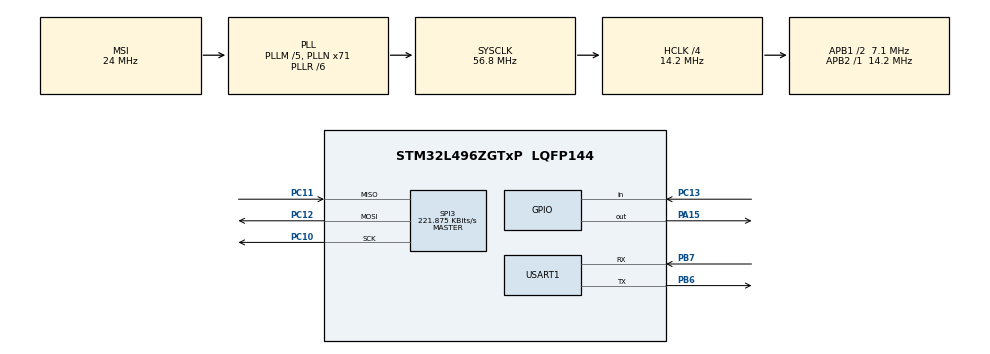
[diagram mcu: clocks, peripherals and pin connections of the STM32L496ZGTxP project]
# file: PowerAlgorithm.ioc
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Dma.Request0=USART1_RX
Dma.USART1_RX.0.Direction=DMA_PERIPH_TO_MEMORY
Dma.USART1_RX.0.Instance=DMA1_Channel5
Dma.USART1_RX.0.MemDataAlignment=DMA_MDATAALIGN_BYTE
Dma.USART1_RX.0.MemInc=DMA_MINC_ENABLE
Dma.USART1_RX.0.Mode=DMA_NORMAL
Dma.USART1_RX.0.PeriphDataAlignment=DMA_PDATAALIGN_BYTE
Dma.USART1_RX.0.PeriphInc=DMA_PINC_DISABLE
Dma.USART1_RX.0.Priority=DMA_PRIORITY_LOW
Mcu.Family=STM32L4
Mcu.Name=STM32L496ZGTxP
Mcu.Package=LQFP144
NVIC.DMA1_Channel5_IRQn=true\:0\:0\:false\:false\:true\:false\:true\:true
NVIC.PriorityGroup=NVIC_PRIORITYGROUP_4
NVIC.USART1_IRQn=true\:0\:0\:false\:false\:true\:true\:true\:true
PA15\ (JTDI).Signal=GPIO_Output
PB6.Mode=Asynchronous
PB6.Signal=USART1_TX
PB7.Mode=Asynchronous
PB7.Signal=USART1_RX
PC10.Mode=Full_Duplex_Master
PC10.Signal=SPI3_SCK
PC11.Mode=Full_Duplex_Master
PC11.Signal=SPI3_MISO
PC12.Mode=Full_Duplex_Master
PC12.Signal=SPI3_MOSI
PC13.Signal=GPIO_Input
PC14-OSC32_IN\ (PC14).Mode=LSE-External-Oscillator
PC14-OSC32_IN\ (PC14).Signal=RCC_OSC32_IN
PC15-OSC32_OUT\ (PC15).Mode=LSE-External-Oscillator
PC15-OSC32_OUT\ (PC15).Signal=RCC_OSC32_OUT
PH0-OSC_IN\ (PH0).Mode=HSE-External-Oscillator
PH0-OSC_IN\ (PH0).Signal=RCC_OSC_IN
PH1-OSC_OUT\ (PH1).Mode=HSE-External-Oscillator
PH1-OSC_OUT\ (PH1).Signal=RCC_OSC_OUT
ProjectManager.HeapSize=0x200
ProjectManager.StackSize=0x400
ProjectManager.TargetToolchain=STM32CubeIDE
RCC.48MHZClocksFreq_Value=24000000
RCC.ADCFreq_Value=48000000
RCC.AHBCLKDivider=RCC_SYSCLK_DIV4
RCC.AHBFreq_Value=14200000
RCC.APB1CLKDivider=RCC_HCLK_DIV2
RCC.APB1Freq_Value=7100000
RCC.APB1TimFreq_Value=14200000
RCC.APB2Freq_Value=14200000
RCC.APB2TimFreq_Value=14200000
RCC.CortexFreq_Value=14200000
RCC.HCLKFreq_Value=14200000
RCC.HSE_VALUE=8000000
RCC.HSI48_VALUE=48000000
RCC.HSI_VALUE=16000000
RCC.MSIClockRange=RCC_MSIRANGE_9
RCC.MSI_VALUE=24000000
RCC.PLLM=5
RCC.PLLMUL=RCC_PLL_MUL9
RCC.PLLN=71
RCC.PLLR=RCC_PLLR_DIV6
RCC.PLLSAI1N=20
RCC.PRESCALERUSB=RCC_USBCLKSOURCE_PLL_DIV1_5
RCC.SYSCLKFreq_VALUE=56800000
RCC.SYSCLKSource=RCC_SYSCLKSOURCE_PLLCLK
RCC.SYSCLKSourceVirtual=RCC_SYSCLKSOURCE_PLLCLK
RCC.USBFreq_Value=48000000
RCC.VCOOutputFreq_Value=340800000
SPI3.BaudRatePrescaler=SPI_BAUDRATEPRESCALER_32
SPI3.CalculateBaudRate=221.875 KBits/s
SPI3.Direction=SPI_DIRECTION_2LINES
SPI3.Mode=SPI_MODE_MASTER
SPI3.VirtualType=VM_MASTER
USART1.VirtualMode-Asynchronous=VM_ASYNC
board=NUCLEO-L496ZG-P

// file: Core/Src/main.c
/* USER CODE BEGIN Header */
/**
  ******************************************************************************
  * @file           : main.c
  * @brief          : Main program body
  * @author			: Ronak Sharma
  ******************************************************************************
  * @attention
  *
  * Copyright (c) 2023 STMicroelectronics.
  * All rights reserved.
  *
  * This software is licensed under terms that can be found in the LICENSE file
  * in the root directory of this software component.
  * If no LICENSE file comes with this software, it is provided AS-IS.
  *
  ******************************************************************************
  */
/* USER CODE END Header */
#include "main.h"

/* USER CODE BEGIN Includes */
#include<stdio.h>
#include<string.h>
#include<stdlib.h>

/* USER CODE END Includes */

SPI_HandleTypeDef hspi3;

UART_HandleTypeDef huart1;
DMA_HandleTypeDef hdma_usart1_rx;

/* USER CODE BEGIN PV */
uint8_t usart_rx_buf[20];
uint8_t Buf[200];
uint8_t choice;
uint8_t i;
uint8_t spi_Rx_data[2];

uint8_t adr;
/* USER CODE END PV */

void SystemClock_Config(void);
static void MX_GPIO_Init(void);
static void MX_DMA_Init(void);
static void MX_USART1_UART_Init(void);
static void MX_SPI3_Init(void);
/* USER CODE BEGIN PFP */
void read_LMX(void);
void write_LMX(void);
/* USER CODE END PFP */

int main(void)
{

  /* MCU Configuration--------------------------------------------------------*/

  /* Reset of all peripherals, Initializes the Flash interface and the Systick. */
  HAL_Init();

  /* Configure the system clock */
  SystemClock_Config();

  /* Initialize all configured peripherals */
  MX_GPIO_Init();
  MX_DMA_Init();
  MX_USART1_UART_Init();
  MX_SPI3_Init();
  /* USER CODE BEGIN 2 */
  strcpy((char*)Buf,"Application is Running \n\r");
  HAL_UART_Transmit(&huart1, Buf, strlen((char*)Buf),1000);
  /* USER CODE END 2 */

  /* Infinite loop */
  while (1)
  {

    /* USER CODE BEGIN 3 */
	  	  choice=0x00;
	  	*usart_rx_buf=0;
	  	  while( ! HAL_GPIO_ReadPin(GPIOC, GPIO_PIN_13));
	 	  HAL_Delay(200);
	 	  strcpy((char*)Buf,"\nWelcome to LMX Application\n\r\nPress 1 to Read the LMX Register \n\rPress 2 to Write the LMX Register \n\r");
	 	  HAL_UART_Transmit(&huart1, Buf, strlen((char*)Buf),1000);
	 	  //HAL_UART_Receive_DMA(&huart1, usart_rx_buf, 1);
	 	  HAL_UART_Receive(&huart1, &i, 1, HAL_MAX_DELAY);
	 	 HAL_Delay(100);

	 	  choice = atoi((const char*)&i) ;

	 	  if(choice == 1){
	 		  strcpy((char*)Buf,"\nyou request for Read operation \n\r");
	 		  HAL_UART_Transmit(&huart1, Buf, strlen((char*)Buf),1000);
	 		  read_LMX();

	 	  }else if(choice == 2){
	 		  strcpy((char*)Buf,"\nyou request for Write operation \n\r");
	 		  HAL_UART_Transmit(&huart1, Buf, strlen((char*)Buf),1000);
	 		  write_LMX();

	 	  }else{
	 		  strcpy((char*)Buf,"\nyou did wrong choice, Hit the Reset Button \n\r");
	 		  HAL_UART_Transmit(&huart1, Buf, strlen((char*)Buf),1000);
	 	  }
  }
  /* USER CODE END 3 */
}

/*
 * @brief LMX Read operation
 * @retval None
 */
void read_LMX(void){

	adr=0x00;
	strcpy((char*)Buf,"\nEnter the number of the register (0-122) : ");
	HAL_UART_Transmit(&huart1, Buf, strlen((char*)Buf),1000);

	HAL_UART_Receive(&huart1, usart_rx_buf, 3, 3000);
	adr = (atoi((const char*)usart_rx_buf) & 0xFF);

	sprintf((char*)Buf,"\nAddress is : 0x%X",adr);
	HAL_UART_Transmit(&huart1, Buf, strlen((char*)Buf),1000);

	HAL_GPIO_WritePin(GPIOF, GPIO_PIN_12, GPIO_PIN_RESET); //CS pin low
	HAL_SPI_Transmit(&hspi3, &adr, 1, 100); // SPI Transimt
	HAL_SPI_Receive(&hspi3, spi_Rx_data, 2, 100);
	HAL_GPIO_WritePin(GPIOF, GPIO_PIN_12, GPIO_PIN_SET); //CS high
    sprintf((char*)Buf,"Receive data is : 0x%X 0x%X",spi_Rx_data[0],spi_Rx_data[1]);
	HAL_UART_Transmit(&huart1, Buf, strlen((char*)Buf), 100);

}

/*
 * @brief LMX Write operation
 * @retval None
 */
void write_LMX(void){

}

void SystemClock_Config(void)
{
  RCC_OscInitTypeDef RCC_OscInitStruct = {0};
  RCC_ClkInitTypeDef RCC_ClkInitStruct = {0};

  /** Configure the main internal regulator output voltage
  */
  if (HAL_PWREx_ControlVoltageScaling(PWR_REGULATOR_VOLTAGE_SCALE1) != HAL_OK)
  {
    Error_Handler();
  }

  /** Initializes the RCC Oscillators according to the specified parameters
  * in the RCC_OscInitTypeDef structure.
  */
  RCC_OscInitStruct.OscillatorType = RCC_OSCILLATORTYPE_MSI;
  RCC_OscInitStruct.MSIState = RCC_MSI_ON;
  RCC_OscInitStruct.MSICalibrationValue = 0;
  RCC_OscInitStruct.MSIClockRange = RCC_MSIRANGE_9;
  RCC_OscInitStruct.PLL.PLLState = RCC_PLL_ON;
  RCC_OscInitStruct.PLL.PLLSource = RCC_PLLSOURCE_MSI;
  RCC_OscInitStruct.PLL.PLLM = 5;
  RCC_OscInitStruct.PLL.PLLN = 71;
  RCC_OscInitStruct.PLL.PLLP = RCC_PLLP_DIV2;
  RCC_OscInitStruct.PLL.PLLQ = RCC_PLLQ_DIV2;
  RCC_OscInitStruct.PLL.PLLR = RCC_PLLR_DIV6;
  if (HAL_RCC_OscConfig(&RCC_OscInitStruct) != HAL_OK)
  {
    Error_Handler();
  }

  /** Initializes the CPU, AHB and APB buses clocks
  */
  RCC_ClkInitStruct.ClockType = RCC_CLOCKTYPE_HCLK|RCC_CLOCKTYPE_SYSCLK
                              |RCC_CLOCKTYPE_PCLK1|RCC_CLOCKTYPE_PCLK2;
  RCC_ClkInitStruct.SYSCLKSource = RCC_SYSCLKSOURCE_PLLCLK;
  RCC_ClkInitStruct.AHBCLKDivider = RCC_SYSCLK_DIV4;
  RCC_ClkInitStruct.APB1CLKDivider = RCC_HCLK_DIV2;
  RCC_ClkInitStruct.APB2CLKDivider = RCC_HCLK_DIV1;

  if (HAL_RCC_ClockConfig(&RCC_ClkInitStruct, FLASH_LATENCY_0) != HAL_OK)
  {
    Error_Handler();
  }
}

static void MX_SPI3_Init(void)
{

  /* SPI3 parameter configuration*/
  hspi3.Instance = SPI3;
  hspi3.Init.Mode = SPI_MODE_MASTER;
  hspi3.Init.Direction = SPI_DIRECTION_2LINES;
  hspi3.Init.DataSize = SPI_DATASIZE_4BIT;
  hspi3.Init.CLKPolarity = SPI_POLARITY_LOW;
  hspi3.Init.CLKPhase = SPI_PHASE_1EDGE;
  hspi3.Init.NSS = SPI_NSS_SOFT;
  hspi3.Init.BaudRatePrescaler = SPI_BAUDRATEPRESCALER_32;
  hspi3.Init.FirstBit = SPI_FIRSTBIT_MSB;
  hspi3.Init.TIMode = SPI_TIMODE_DISABLE;
  hspi3.Init.CRCCalculation = SPI_CRCCALCULATION_DISABLE;
  hspi3.Init.CRCPolynomial = 7;
  hspi3.Init.CRCLength = SPI_CRC_LENGTH_DATASIZE;
  hspi3.Init.NSSPMode = SPI_NSS_PULSE_ENABLE;
  if (HAL_SPI_Init(&hspi3) != HAL_OK)
  {
    Error_Handler();
  }

}

static void MX_USART1_UART_Init(void)
{

  huart1.Instance = USART1;
  huart1.Init.BaudRate = 115200;
  huart1.Init.WordLength = UART_WORDLENGTH_8B;
  huart1.Init.StopBits = UART_STOPBITS_1;
  huart1.Init.Parity = UART_PARITY_NONE;
  huart1.Init.Mode = UART_MODE_TX_RX;
  huart1.Init.HwFlowCtl = UART_HWCONTROL_NONE;
  huart1.Init.OverSampling = UART_OVERSAMPLING_16;
  huart1.Init.OneBitSampling = UART_ONE_BIT_SAMPLE_DISABLE;
  huart1.AdvancedInit.AdvFeatureInit = UART_ADVFEATURE_NO_INIT;
  if (HAL_UART_Init(&huart1) != HAL_OK)
  {
    Error_Handler();
  }

}

static void MX_DMA_Init(void)
{

  /* DMA controller clock enable */
  __HAL_RCC_DMA1_CLK_ENABLE();

  /* DMA interrupt init */
  /* DMA1_Channel5_IRQn interrupt configuration */
  HAL_NVIC_SetPriority(DMA1_Channel5_IRQn, 0, 0);
  HAL_NVIC_EnableIRQ(DMA1_Channel5_IRQn);

}

static void MX_GPIO_Init(void)
{
  GPIO_InitTypeDef GPIO_InitStruct = {0};

  /* GPIO Ports Clock Enable */
  __HAL_RCC_GPIOC_CLK_ENABLE();
  __HAL_RCC_GPIOH_CLK_ENABLE();
  __HAL_RCC_GPIOA_CLK_ENABLE();
  __HAL_RCC_GPIOB_CLK_ENABLE();

  /*Configure GPIO pin Output Level */
  HAL_GPIO_WritePin(GPIOA, GPIO_PIN_15, GPIO_PIN_RESET);

  /*Configure GPIO pin : PC13 */
  GPIO_InitStruct.Pin = GPIO_PIN_13;
  GPIO_InitStruct.Mode = GPIO_MODE_INPUT;
  GPIO_InitStruct.Pull = GPIO_NOPULL;
  HAL_GPIO_Init(GPIOC, &GPIO_InitStruct);

  /*Configure GPIO pin : PA15 */
  GPIO_InitStruct.Pin = GPIO_PIN_15;
  GPIO_InitStruct.Mode = GPIO_MODE_OUTPUT_PP;
  GPIO_InitStruct.Pull = GPIO_NOPULL;
  GPIO_InitStruct.Speed = GPIO_SPEED_FREQ_LOW;
  HAL_GPIO_Init(GPIOA, &GPIO_InitStruct);

}

void Error_Handler(void)
{
  __disable_irq();
  while (1)
  {
  }
}
